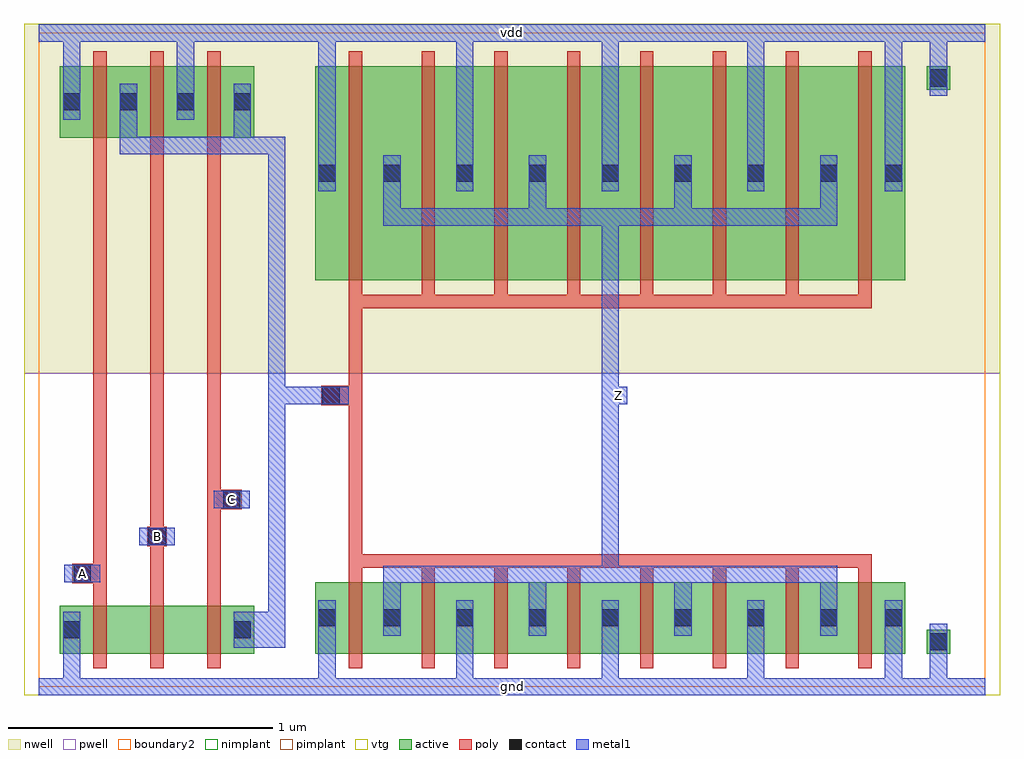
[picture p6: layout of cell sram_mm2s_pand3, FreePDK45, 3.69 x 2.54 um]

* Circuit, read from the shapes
.subckt sram_mm2s_pand3 A B C Z gnd vdd
M1 sram_mm2s_pnand3_0_0/sram_mm2s_nmos_m1_w0_180_sm1_dactive_3/D A gnd gnd nfet w=0.18u l=0.05u
M2 sram_mm2s_pnand3_0_0/sram_mm2s_nmos_m1_w0_180_sactive_dactive_4/D B sram_mm2s_pnand3_0_0/sram_mm2s_nmos_m1_w0_180_sm1_dactive_3/D gnd nfet w=0.18u l=0.05u
M3 sram_mm2s_pdriver_2_1/A C sram_mm2s_pnand3_0_0/sram_mm2s_nmos_m1_w0_180_sactive_dactive_4/D gnd nfet w=0.18u l=0.05u
M4 Z sram_mm2s_pdriver_2_1/A gnd gnd nfet w=0.27u l=0.05u m=8
M5 sram_mm2s_pdriver_2_1/A A vdd vdd pfet w=0.27u l=0.05u
M6 vdd B sram_mm2s_pdriver_2_1/A vdd pfet w=0.27u l=0.05u
M7 sram_mm2s_pdriver_2_1/A C vdd vdd pfet w=0.27u l=0.05u
M8 Z sram_mm2s_pdriver_2_1/A vdd vdd pfet w=0.81u l=0.05u m=8
.ends

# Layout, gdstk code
import gdstk
lib = gdstk.Library(unit=1e-6, precision=5e-10)
def R(c, l, rs):  # rectangles x0, y0, x1, y1
    for r in rs: c.add(gdstk.rectangle(r[:2], r[2:], *l))
def A(c, l, x, y, w, h, nx, ny, dx, dy):  # array of equal rectangles
    R(c, l, [(x+i*dx, y+j*dy, x+i*dx+w, y+j*dy+h) for i in range(nx) for j in range(ny)])
active = (1, 0)
pwell = (2, 0)
nwell = (3, 0)
nimplant = (4, 0)
pimplant = (5, 0)
vtg = (6, 0)
poly = (9, 0)
contact = (10, 0)
metal1 = (11, 0)
boundary2 = (239, 0)

sram_mm2s_contact_11 = lib.new_cell('sram_mm2s_contact_11')
R(sram_mm2s_contact_11, active, [(0,0.0225,0.09,0.1125)])
R(sram_mm2s_contact_11, nwell, [(-0.055,-0.0325,0.145,0.1675)])
R(sram_mm2s_contact_11, pimplant, [(0,0.0225,0.09,0.1125)])
R(sram_mm2s_contact_11, contact, [(0.0125,0.035,0.0775,0.1)])
R(sram_mm2s_contact_11, metal1, [(0.0125,0,0.0775,0.135)])
R(sram_mm2s_contact_11, boundary2, [(-0.055,-0.0325,0.145,0.1675)])

sram_mm2s_pmos_m1_w0_270 = lib.new_cell('sram_mm2s_pmos_m1_w0_270_sm1_dm1')
R(sram_mm2s_pmos_m1_w0_270, active, [(0,0,0.305,0.27)])
R(sram_mm2s_pmos_m1_w0_270, nwell, [(-0.08,-0.08,0.385,0.35)])
R(sram_mm2s_pmos_m1_w0_270, pimplant, [(0,0,0.305,0.27)])
R(sram_mm2s_pmos_m1_w0_270, vtg, [(-0.08,-0.08,0.385,0.35)])
R(sram_mm2s_pmos_m1_w0_270, poly, [(0.1275,-0.055,0.1775,0.325), (0.1275,-0.055,0.1775,0.325)])
R(sram_mm2s_pmos_m1_w0_270, metal1, [(0.0125,0.0675,0.0775,0.2025), (0.2275,0.0675,0.2925,0.2025)])
R(sram_mm2s_pmos_m1_w0_270, boundary2, [(-0.08,-0.08,0.385,0.35)])
sram_mm2s_pmos_m1_w0_270.add(gdstk.Reference(sram_mm2s_contact_11, (0,0.0675)))
sram_mm2s_pmos_m1_w0_270.add(gdstk.Reference(sram_mm2s_contact_11, (0.215,0.0675)))
sram_mm2s_pmos_m1_w0_270.add(gdstk.Label('G', (0.1525,0.135), layer=9, texttype=0))
sram_mm2s_pmos_m1_w0_270.add(gdstk.Label('S', (0.045,0.135), layer=11, texttype=0))
sram_mm2s_pmos_m1_w0_270.add(gdstk.Label('D', (0.26,0.135), layer=11, texttype=0))

sram_mm2s_contact_10 = lib.new_cell('sram_mm2s_contact_10')
R(sram_mm2s_contact_10, active, [(0,0.0225,0.09,0.1125)])
R(sram_mm2s_contact_10, pwell, [(-0.055,-0.0325,0.145,0.1675)])
R(sram_mm2s_contact_10, nimplant, [(0,0.0225,0.09,0.1125)])
R(sram_mm2s_contact_10, contact, [(0.0125,0.035,0.0775,0.1)])
R(sram_mm2s_contact_10, metal1, [(0.0125,0,0.0775,0.135)])
R(sram_mm2s_contact_10, boundary2, [(-0.055,-0.0325,0.145,0.1675)])

sram_mm2s_nmos_m1_w0_180 = lib.new_cell('sram_mm2s_nmos_m1_w0_180_sm1_dactive')
R(sram_mm2s_nmos_m1_w0_180, active, [(0,0,0.305,0.18), (0.215,0.045,0.305,0.135)])
R(sram_mm2s_nmos_m1_w0_180, pwell, [(-0.08,-0.08,0.385,0.26)])
R(sram_mm2s_nmos_m1_w0_180, nimplant, [(0,0,0.305,0.18)])
R(sram_mm2s_nmos_m1_w0_180, vtg, [(-0.08,-0.08,0.385,0.26)])
R(sram_mm2s_nmos_m1_w0_180, poly, [(0.1275,-0.055,0.1775,0.235), (0.1275,-0.055,0.1775,0.235)])
R(sram_mm2s_nmos_m1_w0_180, metal1, [(0.0125,0.0225,0.0775,0.1575)])
R(sram_mm2s_nmos_m1_w0_180, boundary2, [(-0.08,-0.08,0.385,0.26)])
sram_mm2s_nmos_m1_w0_180.add(gdstk.Reference(sram_mm2s_contact_10, (0,0.0225)))
sram_mm2s_nmos_m1_w0_180.add(gdstk.Label('G', (0.1525,0.09), layer=9, texttype=0))
sram_mm2s_nmos_m1_w0_180.add(gdstk.Label('S', (0.045,0.09), layer=11, texttype=0))
sram_mm2s_nmos_m1_w0_180.add(gdstk.Label('D', (0.26,0.09), layer=1, texttype=0))

c_sram_mm2s_nmos_m1_w0_180 = lib.new_cell('sram_mm2s_nmos_m1_w0_180_sactive_dactive')
R(c_sram_mm2s_nmos_m1_w0_180, active, [(0,0,0.305,0.18), (0,0.045,0.09,0.135), (0.215,0.045,0.305,0.135)])
R(c_sram_mm2s_nmos_m1_w0_180, pwell, [(-0.08,-0.08,0.385,0.26)])
R(c_sram_mm2s_nmos_m1_w0_180, nimplant, [(0,0,0.305,0.18)])
R(c_sram_mm2s_nmos_m1_w0_180, vtg, [(-0.08,-0.08,0.385,0.26)])
R(c_sram_mm2s_nmos_m1_w0_180, poly, [(0.1275,-0.055,0.1775,0.235), (0.1275,-0.055,0.1775,0.235)])
R(c_sram_mm2s_nmos_m1_w0_180, boundary2, [(-0.08,-0.08,0.385,0.26)])
c_sram_mm2s_nmos_m1_w0_180.add(gdstk.Label('G', (0.1525,0.09), layer=9, texttype=0))
c_sram_mm2s_nmos_m1_w0_180.add(gdstk.Label('S', (0.045,0.09), layer=1, texttype=0))
c_sram_mm2s_nmos_m1_w0_180.add(gdstk.Label('D', (0.26,0.09), layer=1, texttype=0))

c_sram_mm2s_nmos_m1_w0_180_ = lib.new_cell('sram_mm2s_nmos_m1_w0_180_sactive_dm1')
R(c_sram_mm2s_nmos_m1_w0_180_, active, [(0,0,0.305,0.18), (0,0.045,0.09,0.135)])
R(c_sram_mm2s_nmos_m1_w0_180_, pwell, [(-0.08,-0.08,0.385,0.26)])
R(c_sram_mm2s_nmos_m1_w0_180_, nimplant, [(0,0,0.305,0.18)])
R(c_sram_mm2s_nmos_m1_w0_180_, vtg, [(-0.08,-0.08,0.385,0.26)])
R(c_sram_mm2s_nmos_m1_w0_180_, poly, [(0.1275,-0.055,0.1775,0.235), (0.1275,-0.055,0.1775,0.235)])
R(c_sram_mm2s_nmos_m1_w0_180_, metal1, [(0.2275,0.0225,0.2925,0.1575)])
R(c_sram_mm2s_nmos_m1_w0_180_, boundary2, [(-0.08,-0.08,0.385,0.26)])
c_sram_mm2s_nmos_m1_w0_180_.add(gdstk.Reference(sram_mm2s_contact_10, (0.215,0.0225)))
c_sram_mm2s_nmos_m1_w0_180_.add(gdstk.Label('G', (0.1525,0.09), layer=9, texttype=0))
c_sram_mm2s_nmos_m1_w0_180_.add(gdstk.Label('S', (0.045,0.09), layer=1, texttype=0))
c_sram_mm2s_nmos_m1_w0_180_.add(gdstk.Label('D', (0.26,0.09), layer=11, texttype=0))

sram_mm2s_contact_14 = lib.new_cell('sram_mm2s_contact_14')
R(sram_mm2s_contact_14, poly, [(0.03,0,0.105,0.075)])
R(sram_mm2s_contact_14, contact, [(0.035,0.005,0.1,0.07)])
R(sram_mm2s_contact_14, metal1, [(0,0.005,0.135,0.07)])
R(sram_mm2s_contact_14, boundary2, [(0,0,0.135,0.075)])

sram_mm2s_pnand3_0 = lib.new_cell('sram_mm2s_pnand3_0')
R(sram_mm2s_pnand3_0, pwell, [(-0.055,-0.0325,1.02,1.185)])
R(sram_mm2s_pnand3_0, nwell, [(-0.055,1.185,1.02,2.505)])
R(sram_mm2s_pnand3_0, vtg, [(-0.055,-0.0325,1.02,1.185), (-0.055,1.185,1.02,2.505)])
A(sram_mm2s_pnand3_0, poly, 0.2075, 0.36, 0.05, 1.66, 3, 1, 0.215, 0)
R(sram_mm2s_pnand3_0, poly, [(0.165,0.39,0.2075,0.465), (0.4225,0.53,0.4475,0.605), (0.6375,0.67,0.73,0.745)])
R(sram_mm2s_pnand3_0, metal1, [(0,-0.0325,0.965,0.0325), (0.0925,-0.0325,0.1575,0.1475), (0.77,0.1475,0.9,0.2825), (0.8675,0.1475,0.9325,2.045), (0.0975,0.395,0.2325,0.46), (0.38,0.535,0.515,0.6), (0.6625,0.675,0.7975,0.74), (0.3075,2.0125,0.3725,2.0775), (0.34,2.0125,0.9,2.0775), (0.7375,2.0125,0.8025,2.0775), (0.77,2.0125,0.9,2.0775), (0.8675,2.0125,0.9325,2.0775), (0.3075,2.045,0.3725,2.21), (0.7375,2.045,0.8025,2.21), (0.0925,2.1425,0.1575,2.5025), (0.5225,2.1425,0.5875,2.5025), (0,2.4375,0.965,2.5025)])
R(sram_mm2s_pnand3_0, boundary2, [(0,0,0.965,2.47), (0,0,0.965,2.47)])
sram_mm2s_pnand3_0.add(gdstk.Reference(sram_mm2s_pmos_m1_w0_270, (0.08,2.075)))
sram_mm2s_pnand3_0.add(gdstk.Reference(sram_mm2s_pmos_m1_w0_270, (0.295,2.075)))
sram_mm2s_pnand3_0.add(gdstk.Reference(sram_mm2s_pmos_m1_w0_270, (0.51,2.075)))
sram_mm2s_pnand3_0.add(gdstk.Reference(sram_mm2s_nmos_m1_w0_180, (0.08,0.125)))
sram_mm2s_pnand3_0.add(gdstk.Reference(c_sram_mm2s_nmos_m1_w0_180, (0.295,0.125)))
sram_mm2s_pnand3_0.add(gdstk.Reference(c_sram_mm2s_nmos_m1_w0_180_, (0.51,0.125)))
sram_mm2s_pnand3_0.add(gdstk.Reference(sram_mm2s_contact_14, (0.0975,0.39)))
sram_mm2s_pnand3_0.add(gdstk.Reference(sram_mm2s_contact_14, (0.38,0.53)))
sram_mm2s_pnand3_0.add(gdstk.Reference(sram_mm2s_contact_14, (0.6625,0.67)))
sram_mm2s_pnand3_0.add(gdstk.Label('A', (0.165,0.4275), layer=11, texttype=0))
sram_mm2s_pnand3_0.add(gdstk.Label('B', (0.4475,0.5675), layer=11, texttype=0))
sram_mm2s_pnand3_0.add(gdstk.Label('C', (0.73,0.7075), layer=11, texttype=0))
sram_mm2s_pnand3_0.add(gdstk.Label('Z', (0.9,2.045), layer=11, texttype=0))
sram_mm2s_pnand3_0.add(gdstk.Label('gnd', (0.4825,0), layer=11, texttype=0))
sram_mm2s_pnand3_0.add(gdstk.Label('vdd', (0.4825,2.47), layer=11, texttype=0))

sram_mm2s_pmos_m8_w0_810 = lib.new_cell('sram_mm2s_pmos_m8_w0_810_sm1_dm1_da_p')
R(sram_mm2s_pmos_m8_w0_810, active, [(0,0,2.23,0.81)])
R(sram_mm2s_pmos_m8_w0_810, nwell, [(-0.08,-0.08,2.31,0.89)])
R(sram_mm2s_pmos_m8_w0_810, pimplant, [(0,0,2.23,0.81)])
R(sram_mm2s_pmos_m8_w0_810, vtg, [(-0.08,-0.08,2.31,0.89)])
A(sram_mm2s_pmos_m8_w0_810, poly, 0.1275, -0.055, 0.05, 0.92, 8, 1, 0.275, 0)
R(sram_mm2s_pmos_m8_w0_810, poly, [(0.1275,-0.105,2.1025,-0.055)])
A(sram_mm2s_pmos_m8_w0_810, metal1, 0.2575, 0.24, 0.065, 0.165, 4, 1, 0.55, 0)
A(sram_mm2s_pmos_m8_w0_810, metal1, 0.5325, 0.3375, 0.065, 0.135, 3, 1, 0.55, 0)
R(sram_mm2s_pmos_m8_w0_810, metal1, [(0.2575,0.2075,1.9725,0.2725), (0.0125,0.3375,0.0775,0.4725), (2.1525,0.3375,2.2175,0.4725)])
R(sram_mm2s_pmos_m8_w0_810, boundary2, [(-0.08,-0.105,2.31,0.89)])
sram_mm2s_pmos_m8_w0_810.add(gdstk.Reference(sram_mm2s_contact_11, (0,0.3375)))
sram_mm2s_pmos_m8_w0_810.add(gdstk.Reference(sram_mm2s_contact_11, (0.245,0.3375)))
sram_mm2s_pmos_m8_w0_810.add(gdstk.Reference(sram_mm2s_contact_11, (0.52,0.3375)))
sram_mm2s_pmos_m8_w0_810.add(gdstk.Reference(sram_mm2s_contact_11, (0.795,0.3375)))
sram_mm2s_pmos_m8_w0_810.add(gdstk.Reference(sram_mm2s_contact_11, (1.07,0.3375)))
sram_mm2s_pmos_m8_w0_810.add(gdstk.Reference(sram_mm2s_contact_11, (1.345,0.3375)))
sram_mm2s_pmos_m8_w0_810.add(gdstk.Reference(sram_mm2s_contact_11, (1.62,0.3375)))
sram_mm2s_pmos_m8_w0_810.add(gdstk.Reference(sram_mm2s_contact_11, (1.895,0.3375)))
sram_mm2s_pmos_m8_w0_810.add(gdstk.Reference(sram_mm2s_contact_11, (2.14,0.3375)))
sram_mm2s_pmos_m8_w0_810.add(gdstk.Label('G', (1.115,-0.08), layer=9, texttype=0))
sram_mm2s_pmos_m8_w0_810.add(gdstk.Label('S', (1.665,0.405), layer=11, texttype=0))
sram_mm2s_pmos_m8_w0_810.add(gdstk.Label('S', (0.045,0.405), layer=11, texttype=0))
sram_mm2s_pmos_m8_w0_810.add(gdstk.Label('S', (0.565,0.405), layer=11, texttype=0))
sram_mm2s_pmos_m8_w0_810.add(gdstk.Label('S', (2.185,0.405), layer=11, texttype=0))
sram_mm2s_pmos_m8_w0_810.add(gdstk.Label('S', (1.115,0.405), layer=11, texttype=0))
sram_mm2s_pmos_m8_w0_810.add(gdstk.Label('D', (1.115,0.24), layer=11, texttype=0))

sram_mm2s_nmos_m8_w0_270 = lib.new_cell('sram_mm2s_nmos_m8_w0_270_sm1_dm1_da_p')
R(sram_mm2s_nmos_m8_w0_270, active, [(0,0,2.23,0.27)])
R(sram_mm2s_nmos_m8_w0_270, pwell, [(-0.08,-0.08,2.31,0.35)])
R(sram_mm2s_nmos_m8_w0_270, nimplant, [(0,0,2.23,0.27)])
R(sram_mm2s_nmos_m8_w0_270, vtg, [(-0.08,-0.08,2.31,0.35)])
A(sram_mm2s_nmos_m8_w0_270, poly, 0.1275, -0.055, 0.05, 0.38, 8, 1, 0.275, 0)
R(sram_mm2s_nmos_m8_w0_270, poly, [(0.1275,0.325,2.1025,0.375)])
A(sram_mm2s_nmos_m8_w0_270, metal1, 0.5325, 0.0675, 0.065, 0.135, 3, 1, 0.55, 0)
A(sram_mm2s_nmos_m8_w0_270, metal1, 0.2575, 0.135, 0.065, 0.165, 4, 1, 0.55, 0)
R(sram_mm2s_nmos_m8_w0_270, metal1, [(0.0125,0.0675,0.0775,0.2025), (2.1525,0.0675,2.2175,0.2025), (0.2575,0.2675,1.9725,0.3325)])
R(sram_mm2s_nmos_m8_w0_270, boundary2, [(-0.08,-0.08,2.31,0.375)])
sram_mm2s_nmos_m8_w0_270.add(gdstk.Reference(sram_mm2s_contact_10, (0,0.0675)))
sram_mm2s_nmos_m8_w0_270.add(gdstk.Reference(sram_mm2s_contact_10, (0.245,0.0675)))
sram_mm2s_nmos_m8_w0_270.add(gdstk.Reference(sram_mm2s_contact_10, (0.52,0.0675)))
sram_mm2s_nmos_m8_w0_270.add(gdstk.Reference(sram_mm2s_contact_10, (0.795,0.0675)))
sram_mm2s_nmos_m8_w0_270.add(gdstk.Reference(sram_mm2s_contact_10, (1.07,0.0675)))
sram_mm2s_nmos_m8_w0_270.add(gdstk.Reference(sram_mm2s_contact_10, (1.345,0.0675)))
sram_mm2s_nmos_m8_w0_270.add(gdstk.Reference(sram_mm2s_contact_10, (1.62,0.0675)))
sram_mm2s_nmos_m8_w0_270.add(gdstk.Reference(sram_mm2s_contact_10, (1.895,0.0675)))
sram_mm2s_nmos_m8_w0_270.add(gdstk.Reference(sram_mm2s_contact_10, (2.14,0.0675)))
sram_mm2s_nmos_m8_w0_270.add(gdstk.Label('G', (1.115,0.35), layer=9, texttype=0))
sram_mm2s_nmos_m8_w0_270.add(gdstk.Label('S', (1.115,0.135), layer=11, texttype=0))
sram_mm2s_nmos_m8_w0_270.add(gdstk.Label('S', (0.565,0.135), layer=11, texttype=0))
sram_mm2s_nmos_m8_w0_270.add(gdstk.Label('S', (0.045,0.135), layer=11, texttype=0))
sram_mm2s_nmos_m8_w0_270.add(gdstk.Label('S', (2.185,0.135), layer=11, texttype=0))
sram_mm2s_nmos_m8_w0_270.add(gdstk.Label('S', (1.665,0.135), layer=11, texttype=0))
sram_mm2s_nmos_m8_w0_270.add(gdstk.Label('D', (1.115,0.3), layer=11, texttype=0))

sram_mm2s_contact_12 = lib.new_cell('sram_mm2s_contact_12')
R(sram_mm2s_contact_12, active, [(0,0.0225,0.09,0.1125)])
R(sram_mm2s_contact_12, nwell, [(-0.055,-0.0325,0.145,0.1675)])
R(sram_mm2s_contact_12, nimplant, [(0,0.0225,0.09,0.1125)])
R(sram_mm2s_contact_12, contact, [(0.0125,0.035,0.0775,0.1)])
R(sram_mm2s_contact_12, metal1, [(0.0125,0,0.0775,0.135)])
R(sram_mm2s_contact_12, boundary2, [(-0.055,-0.0325,0.145,0.1675)])

sram_mm2s_contact_13 = lib.new_cell('sram_mm2s_contact_13')
R(sram_mm2s_contact_13, active, [(0,0.0225,0.09,0.1125)])
R(sram_mm2s_contact_13, pwell, [(-0.055,-0.0325,0.145,0.1675)])
R(sram_mm2s_contact_13, pimplant, [(0,0.0225,0.09,0.1125)])
R(sram_mm2s_contact_13, contact, [(0.0125,0.035,0.0775,0.1)])
R(sram_mm2s_contact_13, metal1, [(0.0125,0,0.0775,0.135)])
R(sram_mm2s_contact_13, boundary2, [(-0.055,-0.0325,0.145,0.1675)])

sram_mm2s_pinv_9 = lib.new_cell('sram_mm2s_pinv_9')
R(sram_mm2s_pinv_9, pwell, [(-0.055,-0.0325,2.6675,1.185)])
R(sram_mm2s_pinv_9, nwell, [(-0.055,1.185,2.6675,2.505)])
R(sram_mm2s_pinv_9, vtg, [(-0.055,-0.0325,2.6675,1.185), (-0.055,1.185,2.6675,2.505)])
R(sram_mm2s_pinv_9, poly, [(0.2075,0.5,0.2575,1.43), (0.14,1.0625,0.2075,1.1375)])
A(sram_mm2s_pinv_9, metal1, 0.6125, -0.0325, 0.065, 0.225, 3, 1, 0.55, 0)
A(sram_mm2s_pinv_9, metal1, 0.6125, 1.8725, 0.065, 0.63, 3, 1, 0.55, 0)
R(sram_mm2s_pinv_9, metal1, [(0,-0.0325,2.6125,0.0325), (0.0925,-0.0325,0.1575,0.1925), (2.2325,-0.0325,2.2975,0.1925), (2.4025,0,2.4675,0.17), (1.1625,0.3925,1.2275,1.8075), (0.0725,1.0675,0.2075,1.1325), (1.195,1.0675,1.26,1.1325), (0.0925,1.8725,0.1575,2.5025), (2.2325,1.8725,2.2975,2.5025), (2.4025,2.3,2.4675,2.47), (0,2.4375,2.6125,2.5025)])
R(sram_mm2s_pinv_9, boundary2, [(0,0,2.6125,2.47), (0,0,2.6125,2.47)])
sram_mm2s_pinv_9.add(gdstk.Reference(sram_mm2s_pmos_m8_w0_810, (0.08,1.535)))
sram_mm2s_pinv_9.add(gdstk.Reference(sram_mm2s_nmos_m8_w0_270, (0.08,0.125)))
sram_mm2s_pinv_9.add(gdstk.Reference(sram_mm2s_contact_12, (2.39,2.2325)))
sram_mm2s_pinv_9.add(gdstk.Reference(sram_mm2s_contact_13, (2.39,0.1025)))
sram_mm2s_pinv_9.add(gdstk.Reference(sram_mm2s_contact_14, (0.0725,1.0625)))
sram_mm2s_pinv_9.add(gdstk.Label('A', (0.14,1.1), layer=11, texttype=0))
sram_mm2s_pinv_9.add(gdstk.Label('Z', (1.2275,1.1), layer=11, texttype=0))
sram_mm2s_pinv_9.add(gdstk.Label('gnd', (1.3065,0), layer=11, texttype=0))
sram_mm2s_pinv_9.add(gdstk.Label('vdd', (1.3065,2.47), layer=11, texttype=0))

sram_mm2s_pdriver_2 = lib.new_cell('sram_mm2s_pdriver_2')
R(sram_mm2s_pdriver_2, pwell, [(-0.055,-0.0325,2.6675,1.185)])
R(sram_mm2s_pdriver_2, nwell, [(-0.055,1.185,2.6675,2.505)])
R(sram_mm2s_pdriver_2, vtg, [(-0.055,-0.0325,2.6675,1.185), (-0.055,1.185,2.6675,2.505)])
R(sram_mm2s_pdriver_2, metal1, [(0,-0.0325,2.6125,0.0325), (0.0725,1.0675,0.2075,1.1325), (1.195,1.0675,1.26,1.1325), (0,2.4375,2.6125,2.5025)])
R(sram_mm2s_pdriver_2, boundary2, [(0,0,2.6125,2.47), (0,0,2.6125,2.47)])
sram_mm2s_pdriver_2.add(gdstk.Reference(sram_mm2s_pinv_9, (0,0)))
sram_mm2s_pdriver_2.add(gdstk.Label('Z', (1.2275,1.1), layer=11, texttype=0))
sram_mm2s_pdriver_2.add(gdstk.Label('A', (0.14,1.1), layer=11, texttype=0))
sram_mm2s_pdriver_2.add(gdstk.Label('gnd', (1.3065,0), layer=11, texttype=0))
sram_mm2s_pdriver_2.add(gdstk.Label('vdd', (1.3065,2.47), layer=11, texttype=0))

sram_mm2s_pand3 = lib.new_cell('sram_mm2s_pand3')
R(sram_mm2s_pand3, metal1, [(0,-0.0325,3.5775,0.0325), (0.0975,0.395,0.2325,0.46), (0.38,0.535,0.515,0.6), (0.6625,0.675,0.7975,0.74), (0.8675,1.0675,0.9325,1.1325), (0.9,1.0675,1.105,1.1325), (2.16,1.0675,2.225,1.1325), (0.8675,1.1,0.9325,2.045), (0,2.4375,3.5775,2.5025)])
R(sram_mm2s_pand3, boundary2, [(0,0,3.5775,2.47), (0,0,3.5775,2.47)])
sram_mm2s_pand3.add(gdstk.Reference(sram_mm2s_pnand3_0, (0,0)))
sram_mm2s_pand3.add(gdstk.Reference(sram_mm2s_pdriver_2, (0.965,0)))
sram_mm2s_pand3.add(gdstk.Label('Z', (2.1925,1.1), layer=11, texttype=0))
sram_mm2s_pand3.add(gdstk.Label('A', (0.165,0.4275), layer=11, texttype=0))
sram_mm2s_pand3.add(gdstk.Label('B', (0.4475,0.5675), layer=11, texttype=0))
sram_mm2s_pand3.add(gdstk.Label('C', (0.73,0.7075), layer=11, texttype=0))
sram_mm2s_pand3.add(gdstk.Label('gnd', (1.789,0), layer=11, texttype=0))
sram_mm2s_pand3.add(gdstk.Label('vdd', (1.789,2.47), layer=11, texttype=0))

lib.write_gds('sram_mm2s_pand3.gds')
